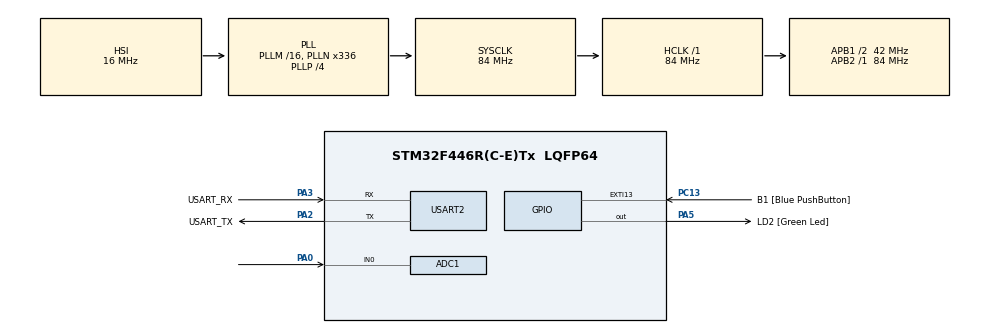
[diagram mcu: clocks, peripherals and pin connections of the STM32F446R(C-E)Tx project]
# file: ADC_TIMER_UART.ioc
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ADC1.Channel-0\#ChannelRegularConversion=ADC_CHANNEL_0
ADC1.NbrOfConversionFlag=1
ADC1.Rank-0\#ChannelRegularConversion=1
ADC1.SamplingTime-0\#ChannelRegularConversion=ADC_SAMPLETIME_3CYCLES
ADC1.master=1
Mcu.Family=STM32F4
Mcu.Name=STM32F446R(C-E)Tx
Mcu.Package=LQFP64
NVIC.PriorityGroup=NVIC_PRIORITYGROUP_0
NVIC.TIM1_UP_TIM10_IRQn=true\:0\:0\:false\:false\:true\:true\:true\:true
PA0-WKUP.Signal=ADCx_IN0
PA13.GPIO_Label=TMS
PA13.Mode=Serial_Wire
PA13.Signal=SYS_JTMS-SWDIO
PA14.GPIO_Label=TCK
PA14.Mode=Serial_Wire
PA14.Signal=SYS_JTCK-SWCLK
PA2.GPIO_Label=USART_TX
PA2.Mode=Asynchronous
PA2.Signal=USART2_TX
PA3.GPIO_Label=USART_RX
PA3.Mode=Asynchronous
PA3.Signal=USART2_RX
PA5.GPIO_Label=LD2 [Green Led]
PA5.Signal=GPIO_Output
PB3.GPIO_Label=SWO
PB3.Signal=SYS_JTDO-SWO
PC13.GPIO_Label=B1 [Blue PushButton]
PC13.GPIO_ModeDefaultEXTI=GPIO_MODE_IT_FALLING
PC13.Signal=GPXTI13
PC14-OSC32_IN.Mode=LSE-External-Oscillator
PC14-OSC32_IN.Signal=RCC_OSC32_IN
PC15-OSC32_OUT.Mode=LSE-External-Oscillator
PC15-OSC32_OUT.Signal=RCC_OSC32_OUT
PH0-OSC_IN.Mode=HSE-External-Oscillator
PH0-OSC_IN.Signal=RCC_OSC_IN
PH1-OSC_OUT.Mode=HSE-External-Oscillator
PH1-OSC_OUT.Signal=RCC_OSC_OUT
ProjectManager.HeapSize=0x200
ProjectManager.StackSize=0x400
ProjectManager.TargetToolchain=STM32CubeIDE
RCC.48MHZClocksFreq_Value=84000000
RCC.AHBFreq_Value=84000000
RCC.APB1CLKDivider=RCC_HCLK_DIV2
RCC.APB1Freq_Value=42000000
RCC.APB1TimFreq_Value=84000000
RCC.APB2Freq_Value=84000000
RCC.APB2TimFreq_Value=84000000
RCC.CortexFreq_Value=84000000
RCC.FLatency-AdvancedSettings=FLASH_LATENCY_2
RCC.HCLKFreq_Value=84000000
RCC.HSE_VALUE=8000000
RCC.HSI_VALUE=16000000
RCC.PLLN=336
RCC.PLLP=RCC_PLLP_DIV4
RCC.SYSCLKFreq_VALUE=84000000
RCC.SYSCLKSource=RCC_SYSCLKSOURCE_PLLCLK
RCC.USBFreq_Value=168000000
RCC.VCOOutputFreq_Value=336000000
SH.ADCx_IN0.0=ADC1_IN0,IN0
TIM10.Prescaler=8399
USART2.VirtualMode=VM_ASYNC
VP_TIM10_VS_ClockSourceINT.Mode=Enable_Timer
board=NUCLEO-F446RE

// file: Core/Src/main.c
/* USER CODE BEGIN Header */
/*
 * ADC_TIMER_UART
 * Proyecto que muestra el uso del ADC en el STM32F446RE. La lectura se hace
 * dentro de la rutina de interrupción de un temporizador para que sea a una frecuencia constante.
 * Las conversiones se envían por UART, para poder ser leídas en una computadora.
 *
 * Basado en los ejemplos ADC_IT y TIM_IT del curso MOOC - STM32CubeMX and STM32Cube HAL basics
 * Modificado por Pedro Joaquín Castillo
 *
 * Para hacer uso de este programa se debe conectar un potenciómetro en configuración de
 * divisor de voltaje a los 3.3V de la placa NUCLEOF446RE.
 * La pata de en medio debe conectarse al pin PA0.
 * Consulten el diagrama esquemático de la placa NUCLEO para mayor detalle de la conexión
 * de los pines.
 */
/**
  ******************************************************************************
  * @file           : main.c
  * @brief          : Main program body
  ******************************************************************************
  * @attention
  *
  * Copyright (c) 2025 STMicroelectronics.
  * All rights reserved.
  *
  * This software is licensed under terms that can be found in the LICENSE file
  * in the root directory of this software component.
  * If no LICENSE file comes with this software, it is provided AS-IS.
  *
  ******************************************************************************
  */
/* USER CODE END Header */
#include "main.h"

/* USER CODE BEGIN Includes */
//Importante incluir estas librerías para evitar mensajes de alerta al momento del "build"
//Contienen funciones para enviar mensajes por puerto COM
#include <stdio.h>
#include <string.h>

/* USER CODE END Includes */

ADC_HandleTypeDef hadc1; //Handler ADC1

TIM_HandleTypeDef htim10; //Handler TIM10

UART_HandleTypeDef huart2;

/* USER CODE BEGIN PV */
//Arreglo para almacenar las conversiones del ADC
uint16_t adc_values[1];
char msg[30]; //Buffer para el mensaje a enviar por UART (debe ser del tamaño adecuado para que quepan todos
//caracteres a enviar)

//FRECUENCIA DE MUESTREO
//OJO: LA CONFIGURACIÓN ACTUAL PERMITE UNA Fs MÁXIMA DE 10kHz.
//SI SE DESEA UNA FRECUENCIA MÁS ALTA SE DEBE CAMBIAR LA CONFIGURACIÓN
uint16_t Fs = 100; //En Hz
uint32_t timer_clk;
uint32_t pclk;

/* USER CODE END PV */

void SystemClock_Config(void);
static void MX_GPIO_Init(void);
static void MX_USART2_UART_Init(void);
static void MX_ADC1_Init(void);
static void MX_TIM10_Init(void);

/* USER CODE BEGIN 0 */

//Callback para la interrupción de TIM10
void HAL_TIM_PeriodElapsedCallback(TIM_HandleTypeDef *htim)
{
    if (htim->Instance == TIM10)
    {
        HAL_GPIO_TogglePin(LD2_GPIO_Port, LD2_Pin);

        HAL_ADC_Start(&hadc1);
        HAL_ADC_PollForConversion(&hadc1, HAL_MAX_DELAY);
        adc_values[0] = HAL_ADC_GetValue(&hadc1);

        sprintf(msg, "%u\n", adc_values[0]);
        HAL_UART_Transmit(&huart2, (uint8_t*)msg, strlen(msg), HAL_MAX_DELAY);
    }
}
/* USER CODE END 0 */

int main(void)
{

  /* MCU Configuration--------------------------------------------------------*/

  /* Reset of all peripherals, Initializes the Flash interface and the Systick. */
  HAL_Init();

  /* Configure the system clock */
  SystemClock_Config();

  /* Initialize all configured peripherals */
  MX_GPIO_Init();
  MX_USART2_UART_Init();
  MX_ADC1_Init();
  MX_TIM10_Init();
  /* USER CODE BEGIN 2 */

  HAL_TIM_Base_Start_IT(&htim10); //Esto inicializa el TIM10 y habilita la interrupción
  /* USER CODE END 2 */

  /* Infinite loop */
  while (1)
  {
	  //El controlador se queda esperando la interrupción del temporizador
  }
}

void SystemClock_Config(void)
{
  RCC_OscInitTypeDef RCC_OscInitStruct = {0};
  RCC_ClkInitTypeDef RCC_ClkInitStruct = {0};

  /** Configure the main internal regulator output voltage
  */
  __HAL_RCC_PWR_CLK_ENABLE();
  __HAL_PWR_VOLTAGESCALING_CONFIG(PWR_REGULATOR_VOLTAGE_SCALE3);

  /** Initializes the RCC Oscillators according to the specified parameters
  * in the RCC_OscInitTypeDef structure.
  */
  RCC_OscInitStruct.OscillatorType = RCC_OSCILLATORTYPE_HSI;
  RCC_OscInitStruct.HSIState = RCC_HSI_ON;
  RCC_OscInitStruct.HSICalibrationValue = RCC_HSICALIBRATION_DEFAULT;
  RCC_OscInitStruct.PLL.PLLState = RCC_PLL_ON;
  RCC_OscInitStruct.PLL.PLLSource = RCC_PLLSOURCE_HSI;
  RCC_OscInitStruct.PLL.PLLM = 16;
  RCC_OscInitStruct.PLL.PLLN = 336;
  RCC_OscInitStruct.PLL.PLLP = RCC_PLLP_DIV4;
  RCC_OscInitStruct.PLL.PLLQ = 2;
  RCC_OscInitStruct.PLL.PLLR = 2;
  if (HAL_RCC_OscConfig(&RCC_OscInitStruct) != HAL_OK)
  {
    Error_Handler();
  }

  /** Initializes the CPU, AHB and APB buses clocks
  */
  RCC_ClkInitStruct.ClockType = RCC_CLOCKTYPE_HCLK|RCC_CLOCKTYPE_SYSCLK
                              |RCC_CLOCKTYPE_PCLK1|RCC_CLOCKTYPE_PCLK2;
  RCC_ClkInitStruct.SYSCLKSource = RCC_SYSCLKSOURCE_PLLCLK;
  RCC_ClkInitStruct.AHBCLKDivider = RCC_SYSCLK_DIV1;
  RCC_ClkInitStruct.APB1CLKDivider = RCC_HCLK_DIV2;
  RCC_ClkInitStruct.APB2CLKDivider = RCC_HCLK_DIV1;

  if (HAL_RCC_ClockConfig(&RCC_ClkInitStruct, FLASH_LATENCY_2) != HAL_OK)
  {
    Error_Handler();
  }
}

static void MX_ADC1_Init(void)
{

  ADC_ChannelConfTypeDef sConfig = {0};

  /** Configure the global features of the ADC (Clock, Resolution, Data Alignment and number of conversion)
  */
  hadc1.Instance = ADC1;
  hadc1.Init.ClockPrescaler = ADC_CLOCK_SYNC_PCLK_DIV4;
  hadc1.Init.Resolution = ADC_RESOLUTION_12B;
  hadc1.Init.ScanConvMode = DISABLE;
  hadc1.Init.ContinuousConvMode = DISABLE;
  hadc1.Init.DiscontinuousConvMode = DISABLE;
  hadc1.Init.ExternalTrigConvEdge = ADC_EXTERNALTRIGCONVEDGE_NONE;
  hadc1.Init.ExternalTrigConv = ADC_SOFTWARE_START;
  hadc1.Init.DataAlign = ADC_DATAALIGN_RIGHT;
  hadc1.Init.NbrOfConversion = 1;
  hadc1.Init.DMAContinuousRequests = DISABLE;
  hadc1.Init.EOCSelection = ADC_EOC_SINGLE_CONV;
  if (HAL_ADC_Init(&hadc1) != HAL_OK)
  {
    Error_Handler();
  }

  /** Configure for the selected ADC regular channel its corresponding rank in the sequencer and its sample time.
  */
  sConfig.Channel = ADC_CHANNEL_0;
  sConfig.Rank = 1;
  sConfig.SamplingTime = ADC_SAMPLETIME_3CYCLES;
  if (HAL_ADC_ConfigChannel(&hadc1, &sConfig) != HAL_OK)
  {
    Error_Handler();
  }

}

static void MX_TIM10_Init(void)
{

  /* USER CODE BEGIN TIM10_Init 0 */

	//Se obtiene la frecuencia del CLK que controla el TIM10
	pclk = HAL_RCC_GetPCLK2Freq();
	if ((RCC->CFGR & RCC_CFGR_PPRE2) != RCC_CFGR_PPRE2_DIV1) {
	    timer_clk = pclk * 2;  // Si el divisor es diferente a 1, se duplica la frecuencia del reloj
	} else {
	    timer_clk = pclk; //Si el divisor es 1, se mantiene igual
	}

	htim10.Init.Prescaler = 8399;
	//OJO: La siguiente línea de código permite modificar la frecuencia de muestreo al sólo cambiar Fs.
	//Note que la línea que configura el período está comentada en la sección de configuración del TIM10.
	//Si se genera nuevo código, debe comentar la línea en donde se asigna el valor del htim10.Init.Period en la
	//configuración del Timer.
	htim10.Init.Period = ((timer_clk / (htim10.Init.Prescaler + 1)) / Fs) - 1;
  /* USER CODE END TIM10_Init 0 */

  htim10.Instance = TIM10;
  htim10.Init.Prescaler = 8399;
  htim10.Init.CounterMode = TIM_COUNTERMODE_UP;
  //htim10.Init.Period = 65535;
  htim10.Init.ClockDivision = TIM_CLOCKDIVISION_DIV1;
  htim10.Init.AutoReloadPreload = TIM_AUTORELOAD_PRELOAD_DISABLE;
  if (HAL_TIM_Base_Init(&htim10) != HAL_OK)
  {
    Error_Handler();
  }

}

static void MX_USART2_UART_Init(void)
{

  huart2.Instance = USART2;
  huart2.Init.BaudRate = 115200;
  huart2.Init.WordLength = UART_WORDLENGTH_8B;
  huart2.Init.StopBits = UART_STOPBITS_1;
  huart2.Init.Parity = UART_PARITY_NONE;
  huart2.Init.Mode = UART_MODE_TX_RX;
  huart2.Init.HwFlowCtl = UART_HWCONTROL_NONE;
  huart2.Init.OverSampling = UART_OVERSAMPLING_16;
  if (HAL_UART_Init(&huart2) != HAL_OK)
  {
    Error_Handler();
  }

}

static void MX_GPIO_Init(void)
{
  GPIO_InitTypeDef GPIO_InitStruct = {0};

  /* GPIO Ports Clock Enable */
  __HAL_RCC_GPIOC_CLK_ENABLE();
  __HAL_RCC_GPIOH_CLK_ENABLE();
  __HAL_RCC_GPIOA_CLK_ENABLE();
  __HAL_RCC_GPIOB_CLK_ENABLE();

  /*Configure GPIO pin Output Level */
  HAL_GPIO_WritePin(LD2_GPIO_Port, LD2_Pin, GPIO_PIN_RESET);

  /*Configure GPIO pin : B1_Pin */
  GPIO_InitStruct.Pin = B1_Pin;
  GPIO_InitStruct.Mode = GPIO_MODE_IT_FALLING;
  GPIO_InitStruct.Pull = GPIO_NOPULL;
  HAL_GPIO_Init(B1_GPIO_Port, &GPIO_InitStruct);

  /*Configure GPIO pin : LD2_Pin */
  GPIO_InitStruct.Pin = LD2_Pin;
  GPIO_InitStruct.Mode = GPIO_MODE_OUTPUT_PP;
  GPIO_InitStruct.Pull = GPIO_NOPULL;
  GPIO_InitStruct.Speed = GPIO_SPEED_FREQ_LOW;
  HAL_GPIO_Init(LD2_GPIO_Port, &GPIO_InitStruct);

}

void Error_Handler(void)
{
  __disable_irq();
  while (1)
  {
  }
}
